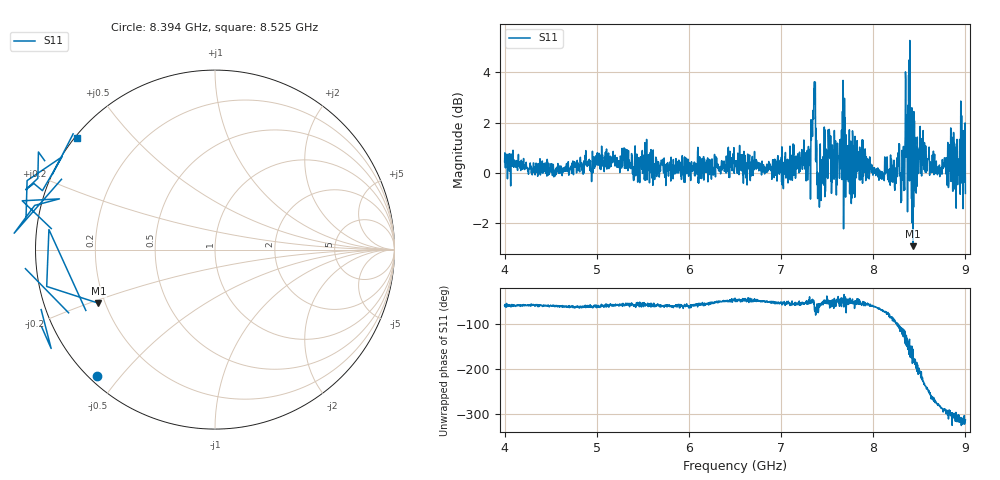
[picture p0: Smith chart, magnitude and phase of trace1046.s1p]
! Created with skrf 1.8.0 (http://scikit-rf.org).
# Hz S RI R 50.0
!freq ReS11 ImS11
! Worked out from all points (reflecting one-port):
!   1601 points, 4 GHz to 9 GHz, reference 50 ohm
!   lowest |S11| = -2.9 dB at 8.431 GHz (marker M1), VSWR 6.02, Z = 8.69 - j10.6 ohm
!   phase of S11 starts at -57 deg and turns -256 deg over the sweep
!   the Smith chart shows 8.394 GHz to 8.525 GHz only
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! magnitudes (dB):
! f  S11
! 4 GHz  0.4
! 4.625 GHz  -0.1
! 5.25 GHz  0.0
! 5.875 GHz  0.1
! 6.5 GHz  0.4
! 7.125 GHz  0.0
! 7.297 GHz  1.0
! 7.328 GHz  1.3
! 7.347 GHz  2.5
! 7.369 GHz  3.6
! 7.397 GHz  -1.0
! 7.416 GHz  -1.4
! 7.512 GHz  1.7
! 7.619 GHz  0.6
! 7.669 GHz  0.5
! 7.75 GHz  0.8
! 8.262 GHz  -0.1
! 8.316 GHz  0.7
! 8.338 GHz  -0.5
! 8.356 GHz  0.6
! 8.375 GHz  1.0
! 8.431 GHz  -2.9
! 8.522 GHz  1.3
! 8.712 GHz  0.2
! 8.853 GHz  1.4
! 8.906 GHz  0.0
! 8.972 GHz  0.6
! 9 GHz  -0.8
